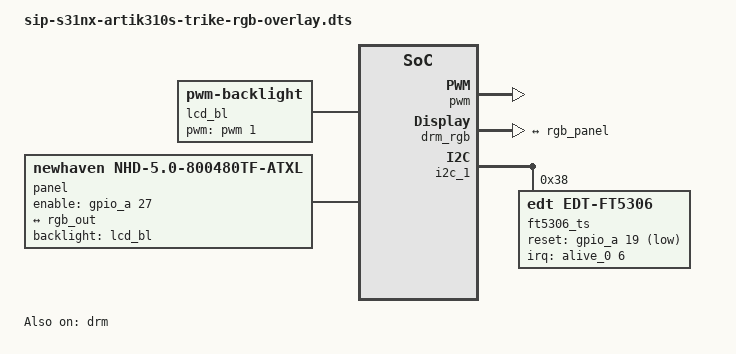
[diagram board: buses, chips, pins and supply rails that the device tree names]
// SPDX-License-Identifier: (GPL-2.0+ OR MIT)

/* Enables DRM/RGB interface for artik310s trike ff board.
 * RGB pins are conflicted with below functions
 * (i2c2, i2c3, i2c4, spi1, spi2, mac1, i2s2)

    - DIS_D0: GPA0/I2C2_SDA/VID_VFIELD1
    - DIS_D1: GPA1/I2C2_SCL/VID_VMCLK1
    - DIS_D2: GPA2/I2C3_SDA/VID1_0
    - DIS_D3: GPA3/I2C3_SCL/VID1_1
    - DIS_D4: GPA4/I2C4_SDA/VID1_2
    - DIS_D5: GPA5/I2C4_SCL/VID1_3
    - DIS_D6: GPA6/SPI1_MISO/VID1_4
    - DIS_D7: GPA7/SPI1_MOSI/VID1_5
    - DIS_D8: GPA8/SPI1_SCLK/VID1_6
    - DIS_D9: GPA9/SPI1_CS/VID1_7
    - DIS_D10: GPA10/SPI2_MISO/VCLK1
    - DIS_D11: GPA11/SPI2_MOSI/VHSYNC1
    - DIS_D12: GPA12/SPI2_SCLK/VVSYNC1
    - DIS_D13: GPD0/MAC1_CLK_RMII
    - DIS_D14: GPD1/MAC1_TXD0
    - DIS_D15: GPD2/MAC1_TXD1
    - DIS_D16: GPD3/MAC1_TXEN
    - DIS_D17: GPD4/MAC1_RXD0/PDM_DATA2
    - DIS_D18: GPD5/MAC1_RXD1/PDM_DATA3
    - DIS_D19: GPD9
    - DIS_D20: GPD6/MAC1_RXDV
    - DIS_D21: GPD7/MAC1_MDIO
    - DIS_D22: GPD8/MAC1_MDC
    - DIS_D23: GPA18/I2S2_LRCLK
    - DIS_VCLK: GPA17/I2S2_MCLK
    - DIS_DE: GPA16/I2S2_BCLK
    - DIS_NVSYNC: GPA15/I2S2_DI
    - DIS_NHSYNC: GPA14/I2S2_DO

   * This overlay can enable TSP(via i2c_1), Newhaven 5.0" 800x480 panel and
   * pwm backlight as well. i2s0 and i2s1 should be disabled to enable them.
   */

/dts-v1/;
/plugin/;

#include <dt-bindings/clock/nxp3220-clk.h>
#include <dt-bindings/pinctrl/nexell.h>
#include <dt-bindings/gpio/gpio.h>
#include <dt-bindings/interrupt-controller/irq.h>

/ {
	compatible = "samsung,artik310s-trike";

	fragment@0 {
		target = <&spi_1>;
		__overlay__ {
			status = "disabled";
		};
	};

	fragment@1 {
		target = <&spi_2>;
		__overlay__ {
			status = "disabled";
		};
	};

	fragment@2 {
		target = <&i2c_2>;
		__overlay__ {
			status = "disabled";
		};
	};

	fragment@3 {
		target = <&i2c_3>;
		__overlay__ {
			status = "disabled";
		};
	};

	fragment@4 {
		target = <&i2c_4>;
		__overlay__ {
			status = "disabled";
		};
	};

	fragment@5 {
		target = <&gmac1>;
		__overlay__ {
			status = "disabled";
		};
	};

	fragment@6 {
		target = <&i2s2>;
		__overlay__ {
			status = "disabled";
		};
	};

	fragment@7 {
		target = <&dp_vclk>;
		__overlay__ {
			nexell,pin-strength = <NX_PIN_STR1>;
		};
	};

	/* Below configurations are required to enable nhd 5" 800x480 panel */
	fragment@8 {
		target = <&i2s0>;
		__overlay__ {
			status = "disabled";
		};
	};

	fragment@9 {
		target = <&i2s1>;
		__overlay__ {
			status = "disabled";
		};
	};

	fragment@10 {
		target = <&pwm>;
		__overlay__ {
			status = "okay";
		};
	};

	fragment@11 {
		target-path = "/";
		__overlay__ {
			lcd_bl: backlight {
				compatible = "pwm-backlight";
				pwms = <&pwm 1 20000 0>;
				pwm-names = "pwm-backlight";
				brightness-levels = < 0  1  2  3  4  5  6  7  8  9
						     10 11 12 13 14 15 16 17 18 19
						     20 21 22 23 24 25 26 27 28 29
						     30 31 32 33 34 35 36 37 38 39
						     40 41 42 43 44 45 46 47 48 49
						     50 51 52 53 54 55 56 57 58 59
						     60 61 62 63 64 65 66 67 68 69
						     70 71 72 73 74 75 76 77 78 79
						     80 81 82 83 84 85 86 87 88 89
						     90 91 92 93 94 95 96 97 98 99
						     100>;
				default-brightness-level = <60>;
			};
		};
	};

	fragment@12 {
		target-path = "/";
		__overlay__ {
			panel: panel-simple {
				compatible = "newhaven,nhd-5.0-800480tf-atxl";
				backlight = <&lcd_bl>;
				enable-gpio = <&gpio_a 27 GPIO_ACTIVE_HIGH>;
				status = "okay";

				port {
					rgb_panel: endpoint {
						remote-endpoint = <&rgb_out>;
					};
				};
			};
		};
	};

	fragment@13 {
		target = <&drm_rgb>;
		__overlay__ {
			status = "okay";

			max-resolution {
				width = <1920>;
				height = <1080>;
				refresh = <60>;
			};

			port {
				rgb_out: endpoint {
					remote-endpoint = <&rgb_panel>;
				};
			};

			display-config {
				out-format = <3>;
			};
		};
	};

	fragment@14 {
		target = <&drm>;
		__overlay__ {
			status = "okay";
		};
	};

	fragment@15 {
		target = <&i2c_1>;
		__overlay__ {
			status = "okay";

			ft5306_ts: ft5306-touchscreen {
				compatible = "edt,edt-ft5306";

				pinctrl-0 = <&tsp_int &tsp_reset>;
				pinctrl-names = "default";

				reg = <0x38>;
				interrupt-parent = <&alive_0>;
				interrupts = <6 IRQ_TYPE_EDGE_FALLING>;

				reset-gpios = <&gpio_a 19 GPIO_ACTIVE_LOW>;

				touchscreen-size-x = <800>;
				touchscreen-size-y = <480>;

				status = "okay";
			};
		};
	};
};
